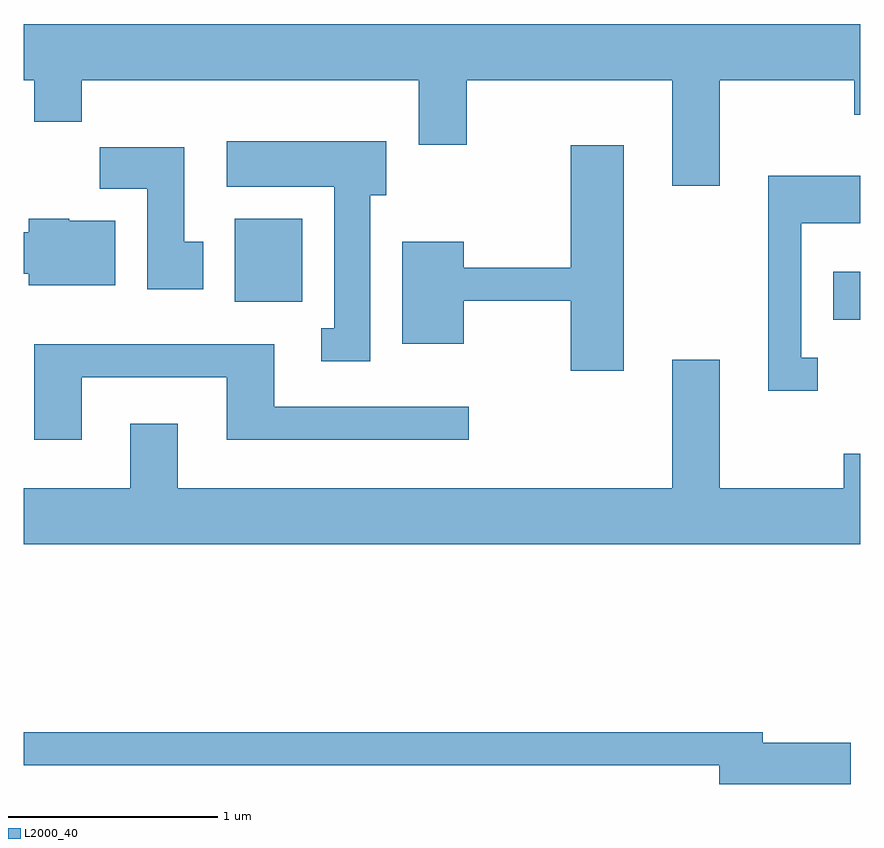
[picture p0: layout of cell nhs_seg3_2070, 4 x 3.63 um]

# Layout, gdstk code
import gdstk
lib = gdstk.Library(unit=1e-6, precision=1e-09)
def R(c, l, rs):  # rectangles x0, y0, x1, y1
    for r in rs: c.add(gdstk.rectangle(r[:2], r[2:], *l))
def P(c, l, *ps):  # polygons
    for p in ps: c.add(gdstk.Polygon(p, *l))
L2000_40 = (2000, 40)

nhs_seg3_2070 = lib.new_cell('nhs_seg3_2070')
R(nhs_seg3_2070, L2000_40, [(249.481,1178.151,249.611,1178.379), (246.621,1178.236,246.944,1178.634)])
P(nhs_seg3_2070, L2000_40, [(248.939,1179.296),(249.581,1179.296),(249.581,1179.131),(249.611,1179.131),(249.611,1179.564),(245.611,1179.564),(245.611,1179.296),(245.661,1179.296),(245.661,1179.096),(245.889,1179.096),(245.889,1179.296),(247.501,1179.296),(247.501,1178.986),(247.729,1178.986),(247.729,1179.296),(248.711,1179.296),(248.711,1178.791),(248.939,1178.791)],
  [(247.269,1178.746),(247.344,1178.746),(247.344,1179.004),(246.581,1179.004),(246.581,1178.786),(247.096,1178.786),(247.096,1178.109),(247.033,1178.109),(247.033,1177.951),(247.269,1177.951)],
  [(248.479,1178.984),(248.226,1178.984),(248.226,1178.399),(247.714,1178.399),(247.714,1178.524),(247.421,1178.524),(247.421,1178.036),(247.714,1178.036),(247.714,1178.241),(248.226,1178.241),(248.226,1177.906),(248.479,1177.906)],
  [(246.469,1178.524),(246.379,1178.524),(246.379,1178.974),(245.976,1178.974),(245.976,1178.776),(246.201,1178.776),(246.201,1178.296),(246.469,1178.296)],
  [(249.408,1177.969),(249.329,1177.969),(249.329,1178.611),(249.611,1178.611),(249.611,1178.839),(249.171,1178.839),(249.171,1177.811),(249.408,1177.811)],
  [(246.049,1178.624),(245.83,1178.624),(245.83,1178.634),(245.636,1178.634),(245.636,1178.569),(245.611,1178.569),(245.611,1178.371),(245.636,1178.371),(245.636,1178.316),(246.049,1178.316)],
  [(245.889,1177.876),(246.581,1177.876),(246.581,1177.576),(247.738,1177.576),(247.738,1177.734),(246.809,1177.734),(246.809,1178.034),(245.661,1178.034),(245.661,1177.576),(245.889,1177.576)],
  [(249.611,1177.509),(249.531,1177.509),(249.531,1177.344),(248.939,1177.344),(248.939,1177.959),(248.711,1177.959),(248.711,1177.344),(246.349,1177.344),(246.349,1177.654),(246.121,1177.654),(246.121,1177.344),(245.611,1177.344),(245.611,1177.076),(249.611,1177.076)],
  [(249.564,1176.129),(249.144,1176.129),(249.144,1176.179),(245.611,1176.179),(245.611,1176.021),(248.936,1176.021),(248.936,1175.931),(249.564,1175.931)])

lib.write_gds('nhs_seg3_2070.gds')
